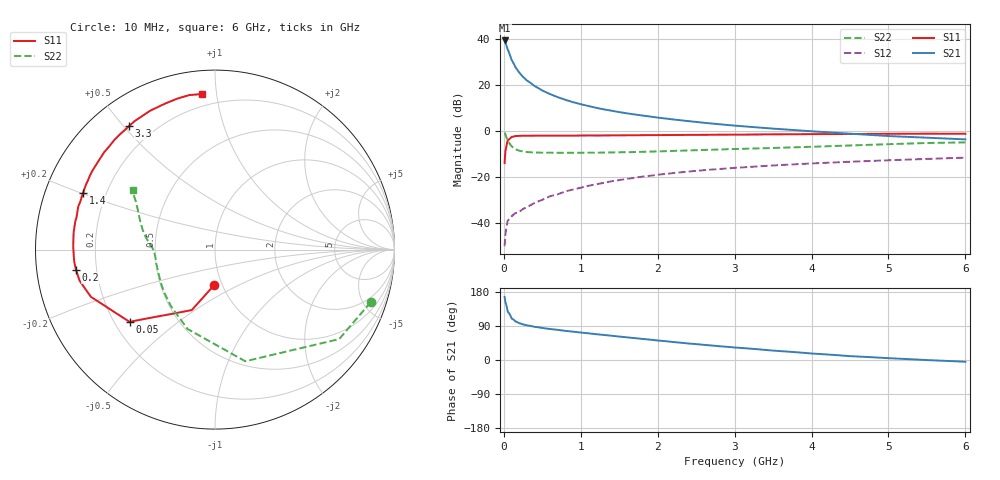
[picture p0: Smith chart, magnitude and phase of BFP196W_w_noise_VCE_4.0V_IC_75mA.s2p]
! Infineon Technologies  Discrete & RF Semiconductors
! BFP196W
! VCE =  4.0 V,  IC =  75 mA
! Common Emitter S-Parameters:  Jan 2017
# GHz  S  MA  R  50
!  f  S11  S21  S12  S22
! GHz  MAG  ANG  MAG  ANG  MAG  ANG  MAG  ANG
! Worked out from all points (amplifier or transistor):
!   77 points, 10 MHz to 6 GHz, reference 50 ohm
!   highest |S21| = 39.4 dB at 10 MHz (marker M1)
!   |S21| within 3 dB of that: start of sweep to 41.07 MHz
!   unconditionally stable (mu >= 1): 600.1 MHz to 3.301 GHz
!   at 130 MHz: K = 0.54, MSG = 32.8 dB, |S12| = -36.3 dB
!   at 2.2 GHz: K = 1.03, MAG = 10.6 dB, |S12| = -18.4 dB
!   at 6 GHz: K = 0.95, MSG = 4.0 dB, |S12| = -11.6 dB
!   lowest NFmin = 1.62 dB at 450 MHz
!   S11 on the Smith chart (normalised r, x): 10 MHz: 0.91, -0.38; 50 MHz: 0.26, -0.34; 200 MHz: 0.12, -0.07; 1.4 GHz: 0.12, +0.20; 3.3 GHz: 0.11, +0.52; 6 GHz: 0.13, +0.91
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0.01  0.1996 -91.7  93.51 166.4  0.0031 80.3  0.9162 -18.6
0.02  0.3609 -111.0  85.98 153.3  0.0055 72.3  0.8527 -35.8
0.05  0.6236 -139.8  59.96 127.8  0.0111 51.1  0.6447 -74.8
0.1  0.7394 -159.1  35.53 109.9  0.0138 47.1  0.4682 -109.0
0.15  0.774 -167.0  24.66 102.1  0.0163 45.6  0.3998 -127.8
0.2  0.7825 -171.7  18.71 97.3  0.0172 49.9  0.3726 -138.6
0.25  0.7871 -175.0  15.05 93.9  0.0201 53.0  0.3579 -146.3
0.3  0.7877 -177.6  12.57 91.5  0.0218 54.3  0.3485 -151.5
0.4  0.7904 178.6  9.505 87.5  0.0271 60.3  0.3402 -158.5
0.5  0.7909 175.8  7.605 84.5  0.0317 62.9  0.3369 -163.1
0.6  0.7934 173.2  6.359 81.8  0.0379 62.9  0.3366 -166.3
0.7  0.7931 170.9  5.445 79.5  0.0417 65.5  0.3345 -168.7
0.9  0.7924 166.5  4.232 74.7  0.053 66.1  0.335 -172.0
1.1  0.7987 162.6  3.488 70.4  0.0641 65.9  0.3363 -174.7
1.4  0.7995 156.8  2.76 64.0  0.0803 64.4  0.3406 -178.2
1.7  0.8064 151.1  2.288 57.8  0.0958 62.5  0.3477 178.8
2.1  0.8142 143.9  1.868 49.6  0.1161 58.6  0.3631 175.1
3.1  0.8338 127.8  1.269 31.6  0.1609 49.1  0.4086 166.5
3.3  0.8381 124.8  1.195 28.4  0.169 47.3  0.4173 164.7
4.1  0.8543 113.8  0.961 15.9  0.1997 40.2  0.4583 156.9
5.1  0.8678 103.0  0.762 3.9  0.2331 31.9  0.5216 148.2
6  0.8696 94.7  0.656 -4.7  0.2624 24.7  0.5636 143.8
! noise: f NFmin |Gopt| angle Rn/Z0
0.45  1.62  0.56  -175  0.06
0.9  1.75  0.59  -169  0.07
1.9  2.61  0.7  -148  0.19
2.4  3.01  0.74  -143  0.31
